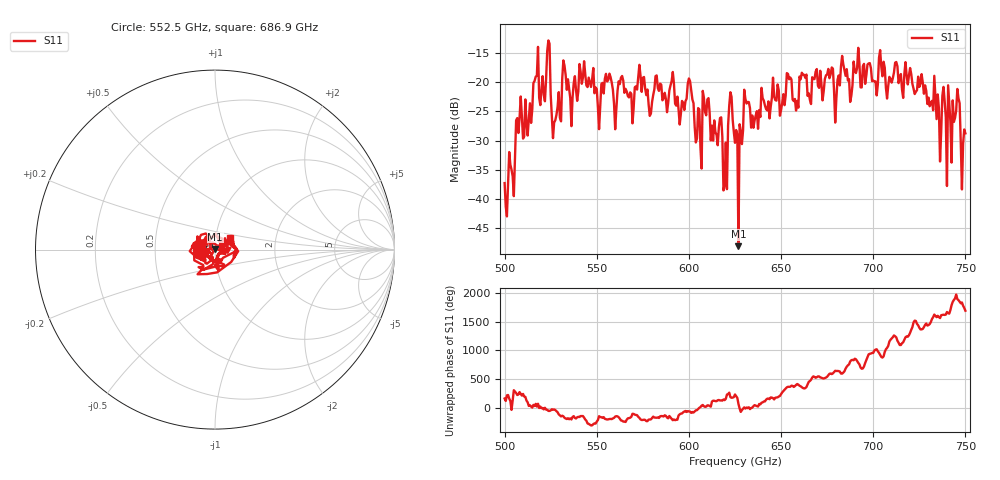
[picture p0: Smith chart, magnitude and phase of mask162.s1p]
!Created with skrf (http://scikit-rf.org).
# GHz S MA R 50.0
!freq magS11 angS11
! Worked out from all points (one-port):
!   401 points, 500 GHz to 750 GHz, reference 50 ohm
!   lowest |S11| = -48.0 dB at 626.9 GHz (marker M1), VSWR 1.01, Z = 50.2 + j0.365 ohm
!   |S11| at or under -10 dB: start of sweep to end of sweep
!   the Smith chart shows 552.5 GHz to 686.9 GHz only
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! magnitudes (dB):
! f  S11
! 500 GHz  -37.2
! 504.4 GHz  -36.1
! 507.5 GHz  -28.7
! 513.8 GHz  -23.6
! 516.9 GHz  -19.1
! 520.6 GHz  -19.0
! 523.8 GHz  -12.8
! 526.9 GHz  -26.9
! 531.2 GHz  -19.4
! 562.5 GHz  -20.3
! 579.4 GHz  -25.3
! 590.6 GHz  -19.8
! 593.8 GHz  -22.5
! 600.6 GHz  -19.8
! 605.6 GHz  -24.6
! 609.4 GHz  -25.6
! 616.9 GHz  -26.1
! 619.4 GHz  -37.5
! 622.5 GHz  -21.7
! 625 GHz  -30.4
! 626.9 GHz  -48.0
! 631.2 GHz  -23.6
! 635 GHz  -27.8
! 656.2 GHz  -23.0
! 687.5 GHz  -23.4
! 690.6 GHz  -18.4
! 718.8 GHz  -20.4
! 750 GHz  -28.7
